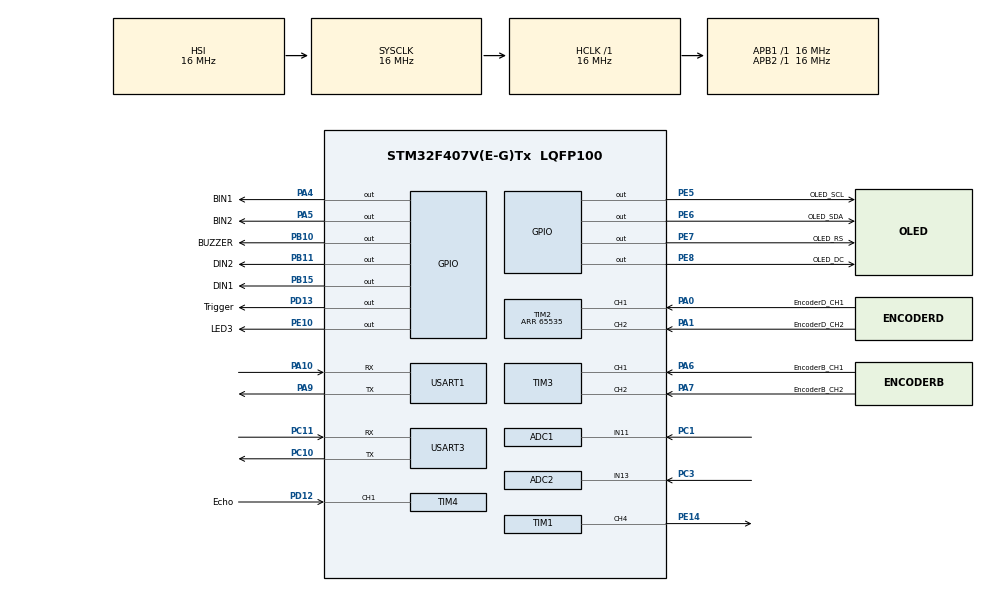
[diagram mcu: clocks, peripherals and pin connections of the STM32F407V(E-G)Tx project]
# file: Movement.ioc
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ADC1.Channel-0\#ChannelRegularConversion=ADC_CHANNEL_11
ADC1.InjNumberOfConversion=0
ADC1.NbrOfConversion=1
ADC1.NbrOfConversionFlag=1
ADC1.Rank-0\#ChannelRegularConversion=1
ADC1.SamplingTime-0\#ChannelRegularConversion=ADC_SAMPLETIME_3CYCLES
ADC1.master=1
ADC2.Channel-1\#ChannelRegularConversion=ADC_CHANNEL_13
ADC2.NbrOfConversionFlag=1
ADC2.Rank-1\#ChannelRegularConversion=1
ADC2.SamplingTime-1\#ChannelRegularConversion=ADC_SAMPLETIME_3CYCLES
FREERTOS.Tasks01=USART1Rx,24,128,USART1Receive,Default,NULL,Dynamic,NULL,NULL;encLeftTask,8,128,encoderLeftTask,Default,NULL,Dynamic,NULL,NULL;encRightTask,8,128,encoderRightTask,Default,NULL,Dynamic,NULL,NULL;motorTask,24,128,dcMotorTask,Default,NULL,Dynamic,NULL,NULL;oledTask,8,128,oledTask1,Default,NULL,Dynamic,NULL,NULL
Mcu.Family=STM32F4
Mcu.Name=STM32F407V(E-G)Tx
Mcu.Package=LQFP100
NVIC.PriorityGroup=NVIC_PRIORITYGROUP_4
NVIC.TIM1_CC_IRQn=true\:5\:0\:false\:false\:true\:true\:true\:true\:true
NVIC.TIM4_IRQn=true\:5\:0\:false\:false\:true\:true\:true\:true\:true
NVIC.USART1_IRQn=true\:5\:0\:false\:false\:true\:true\:true\:true\:true
NVIC.USART3_IRQn=true\:5\:0\:false\:false\:true\:true\:true\:true\:true
PA0-WKUP.GPIO_Label=EncoderD_CH1
PA0-WKUP.Signal=S_TIM2_CH1_ETR
PA1.GPIO_Label=EncoderD_CH2
PA1.Signal=S_TIM2_CH2
PA10.Mode=Asynchronous
PA10.Signal=USART1_RX
PA13.GPIO_Label=SWDIO
PA13.Signal=SYS_JTMS-SWDIO
PA14.GPIO_Label=SWCLK
PA14.Signal=SYS_JTCK-SWCLK
PA4.GPIO_Label=BIN1
PA4.Signal=GPIO_Output
PA5.GPIO_Label=BIN2
PA5.Signal=GPIO_Output
PA6.GPIO_Label=EncoderB_CH1
PA6.Signal=S_TIM3_CH1
PA7.GPIO_Label=EncoderB_CH2
PA7.Signal=S_TIM3_CH2
PA9.Mode=Asynchronous
PA9.Signal=USART1_TX
PB10.GPIO_Label=BUZZER
PB10.Signal=GPIO_Output
PB11.GPIO_Label=DIN2
PB11.Signal=GPIO_Output
PB15.GPIO_Label=DIN1
PB15.Signal=GPIO_Output
PC1.Signal=ADCx_IN11
PC10.GPIO_ModeDefaultPP=GPIO_MODE_AF_PP
PC10.GPIO_PuPd=GPIO_NOPULL
PC10.GPIO_Speed=GPIO_SPEED_FREQ_VERY_HIGH
PC10.Mode=Asynchronous
PC10.Signal=USART3_TX
PC11.GPIO_ModeDefaultPP=GPIO_MODE_AF_PP
PC11.GPIO_PuPd=GPIO_NOPULL
PC11.GPIO_Speed=GPIO_SPEED_FREQ_VERY_HIGH
PC11.Mode=Asynchronous
PC11.Signal=USART3_RX
PC3.Signal=ADCx_IN13
PC7.GPIO_Label=PWMB
PC7.Signal=S_TIM8_CH2
PC9.GPIO_Label=PWMD
PC9.Signal=S_TIM8_CH4
PD12.GPIO_Label=Echo
PD12.Signal=S_TIM4_CH1
PD13.GPIO_Label=Trigger
PD13.Signal=GPIO_Output
PE10.GPIO_Label=LED3
PE10.Signal=GPIO_Output
PE14.Signal=S_TIM1_CH4
PE5.GPIO_Label=OLED_SCL
PE5.Signal=GPIO_Output
PE6.GPIO_Label=OLED_SDA
PE6.Signal=GPIO_Output
PE7.GPIO_Label=OLED_RS
PE7.Signal=GPIO_Output
PE8.GPIO_Label=OLED_DC
PE8.Signal=GPIO_Output
ProjectManager.HeapSize=0x200
ProjectManager.StackSize=0x400
ProjectManager.TargetToolchain=STM32CubeIDE
RCC.AHBFreq_Value=16000000
RCC.APB1Freq_Value=16000000
RCC.APB2Freq_Value=16000000
RCC.CortexFreq_Value=16000000
RCC.HSE_VALUE=25000000
RCC.HSI_VALUE=16000000
RCC.LSE_VALUE=32768
RCC.SYSCLKFreq_VALUE=16000000
RCC.VCOOutputFreq_Value=192000000
SH.ADCx_IN11.0=ADC1_IN11,IN11
SH.ADCx_IN13.0=ADC2_IN13,IN13
SH.S_TIM1_CH4.0=TIM1_CH4,PWM Generation4 CH4
SH.S_TIM2_CH1_ETR.0=TIM2_CH1,Encoder_Interface
SH.S_TIM2_CH2.0=TIM2_CH2,Encoder_Interface
SH.S_TIM3_CH1.0=TIM3_CH1,Encoder_Interface
SH.S_TIM3_CH2.0=TIM3_CH2,Encoder_Interface
SH.S_TIM4_CH1.0=TIM4_CH1,Input_Capture1_from_TI1
SH.S_TIM8_CH2.0=TIM8_CH2
SH.S_TIM8_CH4.0=TIM8_CH4
TIM1.AutoReloadPreload=TIM_AUTORELOAD_PRELOAD_ENABLE
TIM1.Channel-PWM\ Generation4\ CH4=TIM_CHANNEL_4
TIM1.Period=1000
TIM1.Prescaler=160
TIM2.EncoderMode=TIM_ENCODERMODE_TI12
TIM2.IC1Filter=10
TIM2.IC2Filter=10
TIM2.Period=65535
TIM3.EncoderMode=TIM_ENCODERMODE_TI12
TIM3.IC1Filter=10
TIM3.IC2Filter=10
TIM4.Channel-Input_Capture1_from_TI1=TIM_CHANNEL_1
TIM4.ICPolarity_CH1=TIM_INPUTCHANNELPOLARITY_BOTHEDGE
TIM4.Prescaler=16
TIM6.Prescaler=16-1
TIM8.Channel-PWM\ Generation2\ No\ Output=TIM_CHANNEL_2
TIM8.Channel-PWM\ Generation4\ No\ Output=TIM_CHANNEL_4
TIM8.Period=7200
USART1.VirtualMode=VM_ASYNC
USART3.VirtualMode=VM_ASYNC
VP_FREERTOS_VS_CMSIS_V2.Mode=CMSIS_V2
VP_TIM4_VS_ClockSourceINT.Mode=Internal
VP_TIM6_VS_ClockSourceINT.Mode=Enable_Timer
VP_TIM8_VS_ClockSourceINT.Mode=Internal
VP_TIM8_VS_no_output2.Mode=PWM Generation2 No Output
VP_TIM8_VS_no_output4.Mode=PWM Generation4 No Output
board=custom

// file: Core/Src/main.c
/* USER CODE BEGIN Header */
/**
 ******************************************************************************
 * @file           : main.c
 * @brief          : Main program body
 ******************************************************************************
 * @attention
 *
 * Copyright (c) 2025 STMicroelectronics.
 * All rights reserved.
 *
 * This software is licensed under terms that can be found in the LICENSE file
 * in the root directory of this software component.
 * If no LICENSE file comes with this software, it is provided AS-IS.
 *
 ******************************************************************************
 */
/* USER CODE END Header */
#include "main.h"
#include "cmsis_os.h"

/* USER CODE BEGIN Includes */
#include "oled.h"
#include "math.h"
#include <stdio.h>
#include <stdlib.h>
/* USER CODE END Includes */

/* USER CODE BEGIN PTD */
#define CMD_MAX_LENGTH  5
#define AVERAGE_SPEED 18
/* USER CODE END PTD */

/* USER CODE BEGIN PD */

// SERVO-MOTOR
uint16_t SERVO_STRAIGHT = 148;
//uint16_t SERVO_LEFT = 105; // the turning rad is too small, need to increase to make it turn wider
uint16_t SERVO_LEFT = 106; // 64cm for 100
uint16_t SERVO_RIGHT = 201; // change it to achieve TURNING RADIUS of 27
//uint16_t SERVO_RIGHT = 220; // TURNING RADIUS is 23.35 atm
uint16_t pwmVal_servo, oldPwmVal_Servo;
const double TURNING_RADIUS = 35; // TO FIND OUT AGAIN, based on SERVO_L/R
//70cm diameter for Right taking middle
const double WHEELBASE = 16.8; // TO FIND OUT AGAIN, separation between two back wheels

uint32_t estimatedDelay = 0;

// PID-controlled DC Motors
//#define COUNT_PER_REV 1320  // Quadrature-encoded pulses per wheel revolution
// check if need change again - do the measurements
#define COUNT_PER_REV 1560
//1544 right 1576 left

const double PI = 3.141592653;
const double WHEEL_DIAMETER = 6.5;  // in cm
const double WHEEL_CIRCUM = WHEEL_DIAMETER * PI;
const double COUNT_PER_CM = COUNT_PER_REV / WHEEL_CIRCUM;
uint16_t pwmVal_Left, pwmVal_Right = 0;
volatile int start = 0;
volatile int leftDiff = 0, rightDiff = 0;

//uint16_t dist_Left, dist_Right;

// Low-Pass Filter for Ultrasonic Sensor
#define FILTER_ALPHA1 0.1 // Filter coefficient
float filtered_distance = 60; // Initialize filtered distance variable
uint16_t filtered_distance_int = 0;

uint16_t distance_return = 0;

// Low-Pass Filter for IR Sensor
#define FILTER_ALPHA2 0.1 // Filter coefficient

//float filtered_irreading = 600; // Initialize filtered IR values variable
//uint16_t filtered_irreading_int = 0;
//float distanceirr = 0;
//uint16_t distanceir = 0;
//uint16_t initial_distance_ir = 0;

// Left IR
float filtered_irreading_L = 600;  // Filtered value for left IR sensor
uint16_t filtered_irreading_L_int = 0;
float distanceirr_L = 0;
uint16_t distanceir_L = 0;
// Right IR
float filtered_irreading_R = 600;  // Filtered value for right IR sensor
uint16_t filtered_irreading_R_int = 0;
float distanceirr_R = 0;
uint16_t distanceir_R = 0;

#define ACCEPTABLE_ERROR 2

// PID variables
float dTRight, dTLeft;

// Gyro
double total_angle=0;
uint8_t gyroBuffer[20];
uint8_t ICMAddress = 0x68;

// REAR WHEELS ENCODER VARIABLES
int16_t rightEncoderVal = 0, leftEncoderVal = 0;
//int16_t rightTargetVal = 4000, leftTargetVal = 4000; // should be 0 when running/testing the code
int16_t rightTargetVal = 0, leftTargetVal = 0;
int16_t rightErrorVal = 0, leftErrorVal = 0;
int32_t rightIntegral = 0, leftIntegral = 0;

int readyToExecute = 0;

// Ultrasonic sensor declarations
uint16_t echo = 0;       // To hold the echo pulse width in microseconds
uint16_t tc1, tc2;
uint8_t Is_First_Captured = 0;
/* USER CODE END PD */

ADC_HandleTypeDef hadc1;
ADC_HandleTypeDef hadc2;

TIM_HandleTypeDef htim1;
TIM_HandleTypeDef htim2;
TIM_HandleTypeDef htim3;
TIM_HandleTypeDef htim4;
TIM_HandleTypeDef htim6;
TIM_HandleTypeDef htim8;

UART_HandleTypeDef huart1;
UART_HandleTypeDef huart3;

/* Definitions for USART1Rx */
osThreadId_t USART1RxHandle;
const osThreadAttr_t USART1Rx_attributes = {
		.name = "USART1Rx",
		.stack_size = 128 * 4,
		.priority = (osPriority_t) osPriorityNormal,
};
/* Definitions for encLeftTask */
osThreadId_t encLeftTaskHandle;
const osThreadAttr_t encLeftTask_attributes = {
		.name = "encLeftTask",
		.stack_size = 128 * 4,
		.priority = (osPriority_t) osPriorityLow,
};
/* Definitions for encRightTask */
osThreadId_t encRightTaskHandle;
const osThreadAttr_t encRightTask_attributes = {
		.name = "encRightTask",
		.stack_size = 128 * 4,
		.priority = (osPriority_t) osPriorityLow,
};
/* Definitions for motorTask */
osThreadId_t motorTaskHandle;
const osThreadAttr_t motorTask_attributes = {
		.name = "motorTask",
		.stack_size = 128 * 4,
		.priority = (osPriority_t) osPriorityNormal,
};
/* Definitions for oledTask */
osThreadId_t oledTaskHandle;
const osThreadAttr_t oledTask_attributes = {
		.name = "oledTask",
		.stack_size = 128 * 4,
		.priority = (osPriority_t) osPriorityLow,
};
/* USER CODE BEGIN PV */
uint8_t task1 [30] = "Task1";
uint8_t task2 [30] = "Task2";
/* USER CODE END PV */

void SystemClock_Config(void);
static void MX_GPIO_Init(void);
static void MX_TIM8_Init(void);
static void MX_TIM1_Init(void);
static void MX_USART3_UART_Init(void);
static void MX_USART1_UART_Init(void);
static void MX_TIM6_Init(void);
static void MX_TIM4_Init(void);
static void MX_TIM2_Init(void);
static void MX_TIM3_Init(void);
static void MX_ADC1_Init(void);
static void MX_ADC2_Init(void);
void USART1Receive(void *argument);
void encoderLeftTask(void *argument);
void encoderRightTask(void *argument);
void dcMotorTask(void *argument);
void oledTask1(void *argument);

/* USER CODE BEGIN 0 */

volatile uint8_t aRxBuffer [CMD_MAX_LENGTH];
volatile uint8_t bufferIndex = 0;

// RPI
int flagDone = 0;
char key;
char direction;
uint16_t magnitude = 0;
int flagRead = 0;
int flagWrite = 0;

/* USER CODE END 0 */

int main(void)
{

	/* MCU Configuration--------------------------------------------------------*/

	/* Reset of all peripherals, Initializes the Flash interface and the Systick. */
	HAL_Init();

	/* Configure the system clock */
	SystemClock_Config();

	/* Initialize all configured peripherals */
	MX_GPIO_Init();
	MX_TIM8_Init();
	MX_TIM1_Init();
	MX_USART3_UART_Init();
	MX_USART1_UART_Init();
	MX_TIM6_Init();
	MX_TIM4_Init();
	MX_TIM2_Init();
	MX_TIM3_Init();
	MX_ADC1_Init();
	MX_ADC2_Init();
	/* USER CODE BEGIN 2 */
	OLED_Init();

	HAL_TIM_IC_Start_IT(&htim4, TIM_CHANNEL_1);  // Ensure Input Capture is running
	//  HAL_UART_Receive_IT(&huart3, (uint8_t *) aRxBuffer, 30);
	//  HAL_UART_Receive_IT(&huart1, (uint8_t *) aRxBuffer, CMD_MAX_LENGTH);
	HAL_UART_Receive_IT(&huart1, &aRxBuffer[bufferIndex], CMD_MAX_LENGTH);

	/* USER CODE END 2 */

	/* Init scheduler */
	osKernelInitialize();

	/* Create the thread(s) */
	/* creation of USART1Rx */
	USART1RxHandle = osThreadNew(USART1Receive, NULL, &USART1Rx_attributes);

	/* creation of encLeftTask */
	encLeftTaskHandle = osThreadNew(encoderLeftTask, NULL, &encLeftTask_attributes);

	/* creation of encRightTask */
	encRightTaskHandle = osThreadNew(encoderRightTask, NULL, &encRightTask_attributes);

	/* creation of motorTask */
	motorTaskHandle = osThreadNew(dcMotorTask, NULL, &motorTask_attributes);

	/* creation of oledTask */
	oledTaskHandle = osThreadNew(oledTask1, NULL, &oledTask_attributes);

	/* Start scheduler */
	osKernelStart();

	/* We should never get here as control is now taken by the scheduler */

	/* Infinite loop */
	while (1)
	{
	}

	/* USER CODE BEGIN 3 */
	//  }
	/* USER CODE END 3 */
}

void SystemClock_Config(void)
{
	RCC_OscInitTypeDef RCC_OscInitStruct = {0};
	RCC_ClkInitTypeDef RCC_ClkInitStruct = {0};

	/** Configure the main internal regulator output voltage
	 */
	__HAL_RCC_PWR_CLK_ENABLE();
	__HAL_PWR_VOLTAGESCALING_CONFIG(PWR_REGULATOR_VOLTAGE_SCALE1);

	/** Initializes the RCC Oscillators according to the specified parameters
	 * in the RCC_OscInitTypeDef structure.
	 */
	RCC_OscInitStruct.OscillatorType = RCC_OSCILLATORTYPE_HSI;
	RCC_OscInitStruct.HSIState = RCC_HSI_ON;
	RCC_OscInitStruct.HSICalibrationValue = RCC_HSICALIBRATION_DEFAULT;
	RCC_OscInitStruct.PLL.PLLState = RCC_PLL_NONE;
	if (HAL_RCC_OscConfig(&RCC_OscInitStruct) != HAL_OK)
	{
		Error_Handler();
	}

	/** Initializes the CPU, AHB and APB buses clocks
	 */
	RCC_ClkInitStruct.ClockType = RCC_CLOCKTYPE_HCLK|RCC_CLOCKTYPE_SYSCLK
			|RCC_CLOCKTYPE_PCLK1|RCC_CLOCKTYPE_PCLK2;
	RCC_ClkInitStruct.SYSCLKSource = RCC_SYSCLKSOURCE_HSI;
	RCC_ClkInitStruct.AHBCLKDivider = RCC_SYSCLK_DIV1;
	RCC_ClkInitStruct.APB1CLKDivider = RCC_HCLK_DIV1;
	RCC_ClkInitStruct.APB2CLKDivider = RCC_HCLK_DIV1;

	if (HAL_RCC_ClockConfig(&RCC_ClkInitStruct, FLASH_LATENCY_0) != HAL_OK)
	{
		Error_Handler();
	}
}

static void MX_ADC1_Init(void)
{

	ADC_ChannelConfTypeDef sConfig = {0};

	/** Configure the global features of the ADC (Clock, Resolution, Data Alignment and number of conversion)
	 */
	hadc1.Instance = ADC1;
	hadc1.Init.ClockPrescaler = ADC_CLOCK_SYNC_PCLK_DIV2;
	hadc1.Init.Resolution = ADC_RESOLUTION_12B;
	hadc1.Init.ScanConvMode = DISABLE;
	hadc1.Init.ContinuousConvMode = DISABLE;
	hadc1.Init.DiscontinuousConvMode = DISABLE;
	hadc1.Init.ExternalTrigConvEdge = ADC_EXTERNALTRIGCONVEDGE_NONE;
	hadc1.Init.ExternalTrigConv = ADC_SOFTWARE_START;
	hadc1.Init.DataAlign = ADC_DATAALIGN_RIGHT;
	hadc1.Init.NbrOfConversion = 1;
	hadc1.Init.DMAContinuousRequests = DISABLE;
	hadc1.Init.EOCSelection = ADC_EOC_SINGLE_CONV;
	if (HAL_ADC_Init(&hadc1) != HAL_OK)
	{
		Error_Handler();
	}

	/** Configure for the selected ADC regular channel its corresponding rank in the sequencer and its sample time.
	 */
	sConfig.Channel = ADC_CHANNEL_11;
	sConfig.Rank = 1;
	sConfig.SamplingTime = ADC_SAMPLETIME_3CYCLES;
	if (HAL_ADC_ConfigChannel(&hadc1, &sConfig) != HAL_OK)
	{
		Error_Handler();
	}

}

static void MX_ADC2_Init(void)
{

	ADC_ChannelConfTypeDef sConfig = {0};

	/** Configure the global features of the ADC (Clock, Resolution, Data Alignment and number of conversion)
	 */
	hadc2.Instance = ADC2;
	hadc2.Init.ClockPrescaler = ADC_CLOCK_SYNC_PCLK_DIV2;
	hadc2.Init.Resolution = ADC_RESOLUTION_12B;
	hadc2.Init.ScanConvMode = DISABLE;
	hadc2.Init.ContinuousConvMode = DISABLE;
	hadc2.Init.DiscontinuousConvMode = DISABLE;
	hadc2.Init.ExternalTrigConvEdge = ADC_EXTERNALTRIGCONVEDGE_NONE;
	hadc2.Init.ExternalTrigConv = ADC_SOFTWARE_START;
	hadc2.Init.DataAlign = ADC_DATAALIGN_RIGHT;
	hadc2.Init.NbrOfConversion = 1;
	hadc2.Init.DMAContinuousRequests = DISABLE;
	hadc2.Init.EOCSelection = ADC_EOC_SINGLE_CONV;
	if (HAL_ADC_Init(&hadc2) != HAL_OK)
	{
		Error_Handler();
	}

	/** Configure for the selected ADC regular channel its corresponding rank in the sequencer and its sample time.
	 */
	sConfig.Channel = ADC_CHANNEL_13;
	sConfig.Rank = 1;
	sConfig.SamplingTime = ADC_SAMPLETIME_3CYCLES;
	if (HAL_ADC_ConfigChannel(&hadc2, &sConfig) != HAL_OK)
	{
		Error_Handler();
	}

}

static void MX_TIM1_Init(void)
{

	TIM_MasterConfigTypeDef sMasterConfig = {0};
	TIM_OC_InitTypeDef sConfigOC = {0};
	TIM_BreakDeadTimeConfigTypeDef sBreakDeadTimeConfig = {0};

	htim1.Instance = TIM1;
	htim1.Init.Prescaler = 160;
	htim1.Init.CounterMode = TIM_COUNTERMODE_UP;
	htim1.Init.Period = 1000;
	htim1.Init.ClockDivision = TIM_CLOCKDIVISION_DIV1;
	htim1.Init.RepetitionCounter = 0;
	htim1.Init.AutoReloadPreload = TIM_AUTORELOAD_PRELOAD_ENABLE;
	if (HAL_TIM_PWM_Init(&htim1) != HAL_OK)
	{
		Error_Handler();
	}
	sMasterConfig.MasterOutputTrigger = TIM_TRGO_RESET;
	sMasterConfig.MasterSlaveMode = TIM_MASTERSLAVEMODE_DISABLE;
	if (HAL_TIMEx_MasterConfigSynchronization(&htim1, &sMasterConfig) != HAL_OK)
	{
		Error_Handler();
	}
	sConfigOC.OCMode = TIM_OCMODE_PWM1;
	sConfigOC.Pulse = 0;
	sConfigOC.OCPolarity = TIM_OCPOLARITY_HIGH;
	sConfigOC.OCFastMode = TIM_OCFAST_DISABLE;
	sConfigOC.OCIdleState = TIM_OCIDLESTATE_RESET;
	sConfigOC.OCNIdleState = TIM_OCNIDLESTATE_RESET;
	if (HAL_TIM_PWM_ConfigChannel(&htim1, &sConfigOC, TIM_CHANNEL_4) != HAL_OK)
	{
		Error_Handler();
	}
	sBreakDeadTimeConfig.OffStateRunMode = TIM_OSSR_DISABLE;
	sBreakDeadTimeConfig.OffStateIDLEMode = TIM_OSSI_DISABLE;
	sBreakDeadTimeConfig.LockLevel = TIM_LOCKLEVEL_OFF;
	sBreakDeadTimeConfig.DeadTime = 0;
	sBreakDeadTimeConfig.BreakState = TIM_BREAK_DISABLE;
	sBreakDeadTimeConfig.BreakPolarity = TIM_BREAKPOLARITY_HIGH;
	sBreakDeadTimeConfig.AutomaticOutput = TIM_AUTOMATICOUTPUT_DISABLE;
	if (HAL_TIMEx_ConfigBreakDeadTime(&htim1, &sBreakDeadTimeConfig) != HAL_OK)
	{
		Error_Handler();
	}
	HAL_TIM_MspPostInit(&htim1);

}

static void MX_TIM2_Init(void)
{

	TIM_Encoder_InitTypeDef sConfig = {0};
	TIM_MasterConfigTypeDef sMasterConfig = {0};

	htim2.Instance = TIM2;
	htim2.Init.Prescaler = 0;
	htim2.Init.CounterMode = TIM_COUNTERMODE_UP;
	htim2.Init.Period = 65535;
	htim2.Init.ClockDivision = TIM_CLOCKDIVISION_DIV1;
	htim2.Init.AutoReloadPreload = TIM_AUTORELOAD_PRELOAD_DISABLE;
	sConfig.EncoderMode = TIM_ENCODERMODE_TI12;
	sConfig.IC1Polarity = TIM_ICPOLARITY_RISING;
	sConfig.IC1Selection = TIM_ICSELECTION_DIRECTTI;
	sConfig.IC1Prescaler = TIM_ICPSC_DIV1;
	sConfig.IC1Filter = 10;
	sConfig.IC2Polarity = TIM_ICPOLARITY_RISING;
	sConfig.IC2Selection = TIM_ICSELECTION_DIRECTTI;
	sConfig.IC2Prescaler = TIM_ICPSC_DIV1;
	sConfig.IC2Filter = 10;
	if (HAL_TIM_Encoder_Init(&htim2, &sConfig) != HAL_OK)
	{
		Error_Handler();
	}
	sMasterConfig.MasterOutputTrigger = TIM_TRGO_RESET;
	sMasterConfig.MasterSlaveMode = TIM_MASTERSLAVEMODE_DISABLE;
	if (HAL_TIMEx_MasterConfigSynchronization(&htim2, &sMasterConfig) != HAL_OK)
	{
		Error_Handler();
	}

}

static void MX_TIM3_Init(void)
{

	TIM_Encoder_InitTypeDef sConfig = {0};
	TIM_MasterConfigTypeDef sMasterConfig = {0};

	htim3.Instance = TIM3;
	htim3.Init.Prescaler = 0;
	htim3.Init.CounterMode = TIM_COUNTERMODE_UP;
	htim3.Init.Period = 65535;
	htim3.Init.ClockDivision = TIM_CLOCKDIVISION_DIV1;
	htim3.Init.AutoReloadPreload = TIM_AUTORELOAD_PRELOAD_DISABLE;
	sConfig.EncoderMode = TIM_ENCODERMODE_TI12;
	sConfig.IC1Polarity = TIM_ICPOLARITY_RISING;
	sConfig.IC1Selection = TIM_ICSELECTION_DIRECTTI;
	sConfig.IC1Prescaler = TIM_ICPSC_DIV1;
	sConfig.IC1Filter = 10;
	sConfig.IC2Polarity = TIM_ICPOLARITY_RISING;
	sConfig.IC2Selection = TIM_ICSELECTION_DIRECTTI;
	sConfig.IC2Prescaler = TIM_ICPSC_DIV1;
	sConfig.IC2Filter = 10;
	if (HAL_TIM_Encoder_Init(&htim3, &sConfig) != HAL_OK)
	{
		Error_Handler();
	}
	sMasterConfig.MasterOutputTrigger = TIM_TRGO_RESET;
	sMasterConfig.MasterSlaveMode = TIM_MASTERSLAVEMODE_DISABLE;
	if (HAL_TIMEx_MasterConfigSynchronization(&htim3, &sMasterConfig) != HAL_OK)
	{
		Error_Handler();
	}

}

static void MX_TIM4_Init(void)
{

	TIM_ClockConfigTypeDef sClockSourceConfig = {0};
	TIM_MasterConfigTypeDef sMasterConfig = {0};
	TIM_IC_InitTypeDef sConfigIC = {0};

	htim4.Instance = TIM4;
	htim4.Init.Prescaler = 16;
	htim4.Init.CounterMode = TIM_COUNTERMODE_UP;
	htim4.Init.Period = 65535;
	htim4.Init.ClockDivision = TIM_CLOCKDIVISION_DIV1;
	htim4.Init.AutoReloadPreload = TIM_AUTORELOAD_PRELOAD_DISABLE;
	if (HAL_TIM_Base_Init(&htim4) != HAL_OK)
	{
		Error_Handler();
	}
	sClockSourceConfig.ClockSource = TIM_CLOCKSOURCE_INTERNAL;
	if (HAL_TIM_ConfigClockSource(&htim4, &sClockSourceConfig) != HAL_OK)
	{
		Error_Handler();
	}
	if (HAL_TIM_IC_Init(&htim4) != HAL_OK)
	{
		Error_Handler();
	}
	sMasterConfig.MasterOutputTrigger = TIM_TRGO_RESET;
	sMasterConfig.MasterSlaveMode = TIM_MASTERSLAVEMODE_DISABLE;
	if (HAL_TIMEx_MasterConfigSynchronization(&htim4, &sMasterConfig) != HAL_OK)
	{
		Error_Handler();
	}
	sConfigIC.ICPolarity = TIM_INPUTCHANNELPOLARITY_BOTHEDGE;
	sConfigIC.ICSelection = TIM_ICSELECTION_DIRECTTI;
	sConfigIC.ICPrescaler = TIM_ICPSC_DIV1;
	sConfigIC.ICFilter = 0;
	if (HAL_TIM_IC_ConfigChannel(&htim4, &sConfigIC, TIM_CHANNEL_1) != HAL_OK)
	{
		Error_Handler();
	}

}

static void MX_TIM6_Init(void)
{

	TIM_MasterConfigTypeDef sMasterConfig = {0};

	htim6.Instance = TIM6;
	htim6.Init.Prescaler = 16-1;
	htim6.Init.CounterMode = TIM_COUNTERMODE_UP;
	htim6.Init.Period = 65535;
	htim6.Init.AutoReloadPreload = TIM_AUTORELOAD_PRELOAD_DISABLE;
	if (HAL_TIM_Base_Init(&htim6) != HAL_OK)
	{
		Error_Handler();
	}
	sMasterConfig.MasterOutputTrigger = TIM_TRGO_RESET;
	sMasterConfig.MasterSlaveMode = TIM_MASTERSLAVEMODE_DISABLE;
	if (HAL_TIMEx_MasterConfigSynchronization(&htim6, &sMasterConfig) != HAL_OK)
	{
		Error_Handler();
	}

}

static void MX_TIM8_Init(void)
{

	TIM_ClockConfigTypeDef sClockSourceConfig = {0};
	TIM_MasterConfigTypeDef sMasterConfig = {0};
	TIM_OC_InitTypeDef sConfigOC = {0};
	TIM_BreakDeadTimeConfigTypeDef sBreakDeadTimeConfig = {0};

	htim8.Instance = TIM8;
	htim8.Init.Prescaler = 0;
	htim8.Init.CounterMode = TIM_COUNTERMODE_UP;
	htim8.Init.Period = 7200;
	htim8.Init.ClockDivision = TIM_CLOCKDIVISION_DIV1;
	htim8.Init.RepetitionCounter = 0;
	htim8.Init.AutoReloadPreload = TIM_AUTORELOAD_PRELOAD_DISABLE;
	if (HAL_TIM_Base_Init(&htim8) != HAL_OK)
	{
		Error_Handler();
	}
	sClockSourceConfig.ClockSource = TIM_CLOCKSOURCE_INTERNAL;
	if (HAL_TIM_ConfigClockSource(&htim8, &sClockSourceConfig) != HAL_OK)
	{
		Error_Handler();
	}
	if (HAL_TIM_PWM_Init(&htim8) != HAL_OK)
	{
		Error_Handler();
	}
	sMasterConfig.MasterOutputTrigger = TIM_TRGO_RESET;
	sMasterConfig.MasterSlaveMode = TIM_MASTERSLAVEMODE_DISABLE;
	if (HAL_TIMEx_MasterConfigSynchronization(&htim8, &sMasterConfig) != HAL_OK)
	{
		Error_Handler();
	}
	sConfigOC.OCMode = TIM_OCMODE_PWM1;
	sConfigOC.Pulse = 0;
	sConfigOC.OCPolarity = TIM_OCPOLARITY_HIGH;
	sConfigOC.OCNPolarity = TIM_OCNPOLARITY_HIGH;
	sConfigOC.OCFastMode = TIM_OCFAST_DISABLE;
	sConfigOC.OCIdleState = TIM_OCIDLESTATE_RESET;
	sConfigOC.OCNIdleState = TIM_OCNIDLESTATE_RESET;
	if (HAL_TIM_PWM_ConfigChannel(&htim8, &sConfigOC, TIM_CHANNEL_2) != HAL_OK)
	{
		Error_Handler();
	}
	if (HAL_TIM_PWM_ConfigChannel(&htim8, &sConfigOC, TIM_CHANNEL_4) != HAL_OK)
	{
		Error_Handler();
	}
	sBreakDeadTimeConfig.OffStateRunMode = TIM_OSSR_DISABLE;
	sBreakDeadTimeConfig.OffStateIDLEMode = TIM_OSSI_DISABLE;
	sBreakDeadTimeConfig.LockLevel = TIM_LOCKLEVEL_OFF;
	sBreakDeadTimeConfig.DeadTime = 0;
	sBreakDeadTimeConfig.BreakState = TIM_BREAK_DISABLE;
	sBreakDeadTimeConfig.BreakPolarity = TIM_BREAKPOLARITY_HIGH;
	sBreakDeadTimeConfig.AutomaticOutput = TIM_AUTOMATICOUTPUT_DISABLE;
	if (HAL_TIMEx_ConfigBreakDeadTime(&htim8, &sBreakDeadTimeConfig) != HAL_OK)
	{
		Error_Handler();
	}

}

static void MX_USART1_UART_Init(void)
{

	huart1.Instance = USART1;
	huart1.Init.BaudRate = 115200;
	huart1.Init.WordLength = UART_WORDLENGTH_8B;
	huart1.Init.StopBits = UART_STOPBITS_1;
	huart1.Init.Parity = UART_PARITY_NONE;
	huart1.Init.Mode = UART_MODE_TX_RX;
	huart1.Init.HwFlowCtl = UART_HWCONTROL_NONE;
	huart1.Init.OverSampling = UART_OVERSAMPLING_16;
	if (HAL_UART_Init(&huart1) != HAL_OK)
	{
		Error_Handler();
	}

}

static void MX_USART3_UART_Init(void)
{

	huart3.Instance = USART3;
	huart3.Init.BaudRate = 115200;
	huart3.Init.WordLength = UART_WORDLENGTH_8B;
	huart3.Init.StopBits = UART_STOPBITS_1;
	huart3.Init.Parity = UART_PARITY_NONE;
	huart3.Init.Mode = UART_MODE_TX_RX;
	huart3.Init.HwFlowCtl = UART_HWCONTROL_NONE;
	huart3.Init.OverSampling = UART_OVERSAMPLING_16;
	if (HAL_UART_Init(&huart3) != HAL_OK)
	{
		Error_Handler();
	}

}

static void MX_GPIO_Init(void)
{
	GPIO_InitTypeDef GPIO_InitStruct = {0};

	/* GPIO Ports Clock Enable */
	__HAL_RCC_GPIOE_CLK_ENABLE();
	__HAL_RCC_GPIOC_CLK_ENABLE();
	__HAL_RCC_GPIOA_CLK_ENABLE();
	__HAL_RCC_GPIOB_CLK_ENABLE();
	__HAL_RCC_GPIOD_CLK_ENABLE();

	/*Configure GPIO pin Output Level */
	HAL_GPIO_WritePin(GPIOE, OLED_SCL_Pin|OLED_SDA_Pin|OLED_RS_Pin|OLED_DC_Pin
			|LED3_Pin, GPIO_PIN_RESET);

	/*Configure GPIO pin Output Level */
	HAL_GPIO_WritePin(GPIOA, BIN1_Pin|BIN2_Pin, GPIO_PIN_RESET);

	/*Configure GPIO pin Output Level */
	HAL_GPIO_WritePin(GPIOB, BUZZER_Pin|DIN2_Pin|DIN1_Pin, GPIO_PIN_RESET);

	/*Configure GPIO pin Output Level */
	HAL_GPIO_WritePin(Trigger_GPIO_Port, Trigger_Pin, GPIO_PIN_RESET);

	/*Configure GPIO pins : OLED_SCL_Pin OLED_SDA_Pin OLED_RS_Pin OLED_DC_Pin
                           LED3_Pin */
	GPIO_InitStruct.Pin = OLED_SCL_Pin|OLED_SDA_Pin|OLED_RS_Pin|OLED_DC_Pin
			|LED3_Pin;
	GPIO_InitStruct.Mode = GPIO_MODE_OUTPUT_PP;
	GPIO_InitStruct.Pull = GPIO_NOPULL;
	GPIO_InitStruct.Speed = GPIO_SPEED_FREQ_LOW;
	HAL_GPIO_Init(GPIOE, &GPIO_InitStruct);

	/*Configure GPIO pins : BIN1_Pin BIN2_Pin */
	GPIO_InitStruct.Pin = BIN1_Pin|BIN2_Pin;
	GPIO_InitStruct.Mode = GPIO_MODE_OUTPUT_PP;
	GPIO_InitStruct.Pull = GPIO_NOPULL;
	GPIO_InitStruct.Speed = GPIO_SPEED_FREQ_LOW;
	HAL_GPIO_Init(GPIOA, &GPIO_InitStruct);

	/*Configure GPIO pins : BUZZER_Pin DIN2_Pin DIN1_Pin */
	GPIO_InitStruct.Pin = BUZZER_Pin|DIN2_Pin|DIN1_Pin;
	GPIO_InitStruct.Mode = GPIO_MODE_OUTPUT_PP;
	GPIO_InitStruct.Pull = GPIO_NOPULL;
	GPIO_InitStruct.Speed = GPIO_SPEED_FREQ_LOW;
	HAL_GPIO_Init(GPIOB, &GPIO_InitStruct);

	/*Configure GPIO pin : Trigger_Pin */
	GPIO_InitStruct.Pin = Trigger_Pin;
	GPIO_InitStruct.Mode = GPIO_MODE_OUTPUT_PP;
	GPIO_InitStruct.Pull = GPIO_NOPULL;
	GPIO_InitStruct.Speed = GPIO_SPEED_FREQ_LOW;
	HAL_GPIO_Init(Trigger_GPIO_Port, &GPIO_InitStruct);

}

/* USER CODE BEGIN 4 */

void blinkLED3(int period){
	HAL_GPIO_WritePin(GPIOE,LED3_Pin, GPIO_PIN_SET);
	osDelay(period);
	HAL_GPIO_WritePin(GPIOE,LED3_Pin, GPIO_PIN_RESET);
}

void ringBuzzer(int period){
	HAL_GPIO_WritePin(GPIOB,BUZZER_Pin, GPIO_PIN_SET);
	osDelay(period);
	HAL_GPIO_WritePin(GPIOB,BUZZER_Pin, GPIO_PIN_RESET);
	osDelay(period);
}

// NEW DRIVEFORWARD
void moveForward(uint8_t distance_in_cm) {

	char buf[20]; // for debug

	int32_t targetTicks = (int32_t) (distance_in_cm * COUNT_PER_CM);
	leftTargetVal = targetTicks;
	rightTargetVal = targetTicks;
	pwmVal_servo = SERVO_STRAIGHT;

}

void moveBackward(uint8_t distance_in_cm) {

	int32_t targetTicks = (int32_t) - 1 * (distance_in_cm * COUNT_PER_CM);
	leftTargetVal = targetTicks;
	rightTargetVal = targetTicks;
	pwmVal_servo = SERVO_STRAIGHT;

}

void moveLeftForward(uint16_t angle) {
	float outerArc = (PI * (TURNING_RADIUS + (WHEELBASE / 2)) * angle) / 180.0;
	float innerArc = (PI * (TURNING_RADIUS - (WHEELBASE / 2)) * angle) / 180.0;

	int32_t outerTicks = (int32_t)(outerArc * COUNT_PER_CM);
	int32_t innerTicks = (int32_t)(innerArc * COUNT_PER_CM);

	leftTargetVal = innerTicks;   // Inner wheel moves less
	rightTargetVal = outerTicks;  // Outer wheel moves more
	pwmVal_servo = SERVO_LEFT;

}

void moveLeftBackward(uint16_t angle) {
	float outerArc = (PI * (TURNING_RADIUS + (WHEELBASE / 2)) * angle) / 180.0;
	float innerArc = (PI * (TURNING_RADIUS - (WHEELBASE / 2)) * angle) / 180.0;

	int32_t outerTicks = (int32_t)(outerArc * COUNT_PER_CM);
	int32_t innerTicks = (int32_t)(innerArc * COUNT_PER_CM);

	leftTargetVal = -innerTicks;   // Reverse movement
	rightTargetVal = -outerTicks;
	pwmVal_servo = SERVO_LEFT;

}

void moveRightForward(uint16_t angle) {
	//    angle = 130;

	float outerArc = (PI * (TURNING_RADIUS + (WHEELBASE / 2)) * angle) / 180.0;
	float innerArc = (PI * (TURNING_RADIUS - (WHEELBASE / 2)) * angle) / 180.0;

	int32_t outerTicks = (int32_t)(outerArc * COUNT_PER_CM);
	int32_t innerTicks = (int32_t)(innerArc * COUNT_PER_CM);

	leftTargetVal = outerTicks;   // Outer wheel moves more
	rightTargetVal = innerTicks;  // Inner wheel moves less
	pwmVal_servo = SERVO_RIGHT;

}

void moveRightBackward(uint16_t angle) {
	//	angle = 130;

	float outerArc = (PI * (TURNING_RADIUS + (WHEELBASE / 2)) * angle) / 180.0;
	float innerArc = (PI * (TURNING_RADIUS - (WHEELBASE / 2)) * angle) / 180.0;

	int32_t outerTicks = (int32_t)(outerArc * COUNT_PER_CM);
	int32_t innerTicks = (int32_t)(innerArc * COUNT_PER_CM);

	leftTargetVal = -outerTicks;  // Reverse movement
	rightTargetVal = -innerTicks;
	pwmVal_servo = SERVO_RIGHT;

}

uint16_t PID_Control_right() {
	// PID gains (tune as needed)
	//    const float Kp = 35.0f, Ki = 0.0f, Kd = 3.0f; // configured based on 5V
	const float Kp = 4.0f, Ki = 0.01f, Kd = 2.0f; // testing 12V Power Supply
	const float MAX_INTEGRAL = 10.0f;
	// 2000 achieves 20cm/s
	const uint16_t MAX_PWM_VAL = 1800;  // Adjust as needed
	const uint16_t MIN_PWM_VAL = 500;   // Adjust as needed

	// Static variables for persistent error tracking
	static int prevError = 0;
	static float integral = 0.0f;

	// Compute error
	int errorVal = rightEncoderVal - rightTargetVal;

	int percentageError = (int)(fabs((double)errorVal / rightTargetVal) * 100);

	if (percentageError < ACCEPTABLE_ERROR) return 0;

	// Compute derivative (only if dT > 0)
	float derivative = (dTRight > 0) ? (errorVal - prevError) / dTRight : 0.0f;

	// Integrate error with anti-windup clamping
	integral += errorVal * dTRight;
	if (integral > MAX_INTEGRAL) integral = MAX_INTEGRAL;
	else if (integral < -MAX_INTEGRAL) integral = -MAX_INTEGRAL;

	// Compute control signal
	float u_float = Kp * errorVal + Kd * derivative + Ki * integral;
	int u = (int)u_float;  // Convert to integer

	// Store previous error for next cycle
	prevError = errorVal;

	// Set motor direction
	HAL_GPIO_WritePin(DIN2_GPIO_Port, DIN2_Pin, (u < 0) ? GPIO_PIN_SET : GPIO_PIN_RESET);
	HAL_GPIO_WritePin(DIN1_GPIO_Port, DIN1_Pin, (u < 0) ? GPIO_PIN_RESET : GPIO_PIN_SET);

	// Limit PWM output
	u = abs(u);
	if (u > MAX_PWM_VAL) return MAX_PWM_VAL;
	if (u < MIN_PWM_VAL) return 0;

	return (uint16_t)u; // return pwm value
}

uint16_t PID_Control_left() {
	// PID gains (tune as needed)
	//    const float Kp = 20.0f, Ki = 0.0f, Kd = 4.0f; // configured based on 5V
	const float Kp = 2.5f, Ki = 0.01f, Kd = 0.5f; // testing 12V Power Supply
	const float MAX_INTEGRAL = 10.0f;
	// 2000 achieves 20cm/s
	const uint16_t MAX_PWM_VAL = 1800;  // Adjust as needed
	const uint16_t MIN_PWM_VAL = 500;   // Adjust as needed

	// Static variables for persistent error tracking
	static int prevError = 0;
	static float integral = 0.0f;

	// Compute error
	int errorVal = leftEncoderVal - leftTargetVal;

	int percentageError = (int)(fabs((double)errorVal / leftTargetVal) * 100);

	if (percentageError < ACCEPTABLE_ERROR) return 0;

	// Compute derivative (only if dT > 0)
	float derivative = (dTLeft > 0) ? (errorVal - prevError) / dTLeft : 0.0f;

	// Integrate error with anti-windup clamping
	integral += errorVal * dTLeft;
	if (integral > MAX_INTEGRAL) integral = MAX_INTEGRAL;
	else if (integral < -MAX_INTEGRAL) integral = -MAX_INTEGRAL;

	// Compute control signal
	float u_float = Kp * errorVal + Kd * derivative + Ki * integral;
	int u = (int)u_float;  // Convert to integer

	// Store previous error for next cycle
	prevError = errorVal;

	// Set motor direction
	HAL_GPIO_WritePin(BIN2_GPIO_Port, BIN2_Pin, (u < 0) ? GPIO_PIN_SET : GPIO_PIN_RESET);
	HAL_GPIO_WritePin(BIN1_GPIO_Port, BIN1_Pin, (u < 0) ? GPIO_PIN_RESET : GPIO_PIN_SET);

	// Limit PWM output
	u = abs(u);
	if (u > MAX_PWM_VAL) return MAX_PWM_VAL;
	if (u < MIN_PWM_VAL) return 0;

	return (uint16_t)u; // return pwm value
}

uint16_t ultrasonic()
{

	char buf[20];
//	uint16_t distance_return = 0;

	// Ensure input capture is enabled before triggering the sensor
	HAL_TIM_IC_Start_IT(&htim4, TIM_CHANNEL_1); // Ensure the timer is running

	// Send trigger pulse
	HAL_GPIO_WritePin(Trigger_GPIO_Port, Trigger_Pin, GPIO_PIN_RESET);
	// osDelay(50); // Ensure trigger is low before sending pulse
	osDelay(10); // Reduce delay and latency

	HAL_GPIO_WritePin(Trigger_GPIO_Port, Trigger_Pin, GPIO_PIN_SET);
	delay_us(10); // Send 10us trigger pulse
	HAL_GPIO_WritePin(Trigger_GPIO_Port, Trigger_Pin, GPIO_PIN_RESET);
	//    HAL_TIM_IC_Start_IT(&htim1, TIM_CHANNEL_3);

	// Wait for the echo measurement to complete
	osDelay(50);

	distance_return = echo * 0.0343 / 2; // Convert to cm

	// Display measured values

	// for debug only
//	sprintf(buf, "tc1 = %5d us ", tc1);
//	OLED_ShowString(10, 10, buf);
//
//	sprintf(buf, "tc2 = %5d us ", tc2);
//	OLED_ShowString(10, 20, buf);
//
//	sprintf(buf, "Echo = %5d us ", echo);
//	OLED_ShowString(10, 30, buf);
//
//	sprintf(buf, "Dist = %4d cm ", distance_return);
//	OLED_ShowString(10, 50, buf);
//	OLED_Refresh_Gram();

	// debug end

	return distance_return;
}

//uint16_t readLeftIR(ADC_HandleTypeDef hadc1) {
//    char buf[20];
//
//    HAL_ADC_Start(&hadc1);
//    HAL_ADC_PollForConversion(&hadc1, 10); // polling every 10ms, can increase it to 100 if need be
//    uint16_t ADC_VAL_Left = HAL_ADC_GetValue(&hadc1);
//    HAL_ADC_Stop(&hadc1);
//
//    // Display ADC value
//    sprintf(buf, "ADC Val: %5d", ADC_VAL_Left);
//    OLED_ShowString(10, 10, buf);
//
//    // Compute and display distance
//    dist_Left = 136.68 * exp (924.195/ ADC_VAL_Left) - 140.33;
//
//    sprintf(buf, "LeftIR: %5d", dist_Left);
//    OLED_ShowString(10, 20, buf);
//    OLED_Refresh_Gram();
//
//    return ADC_VAL_Left;
//}

uint16_t readLeftIR() {
	char buf[20];

	HAL_ADC_Start(&hadc1);
	HAL_ADC_PollForConversion(&hadc1, 10); // polling every 10ms, can increase it to 100 if need be
	//uint16_t ADC_VAL_Left = HAL_ADC_GetValue(&hadc1);
	uint16_t raw_value_L = HAL_ADC_GetValue(&hadc1);
	HAL_ADC_Stop(&hadc1);

	// Low-pass filter equation
	//iDistanceL = dist_Left;
	// Ratio is 0.15 new and 0.85 old
	filtered_irreading_L = (FILTER_ALPHA2 * raw_value_L) + ((1 - FILTER_ALPHA2) * filtered_irreading_L);
	filtered_irreading_L_int = (uint16_t)filtered_irreading_L;

	// Compute and display distance
	// y   x
	//10cm 3120
	//15cm 2185
	//20cm 1650
	//25cm 1370
	//30cm 1170
	//35cm 1040
	//40cm 920
	//y = 2.650594135131.7273976-12*(x^4)+-2.610518922131.7273976-8*(x^3)+0.00009737117541*(x^2)+-0.1691969613*(x^1)+131.7273976

	//	distanceirr_L = 136.68 * exp (924.195/ filtered_irreading_L) - 140.33;

	float x = filtered_irreading_L;
	float x2 = x * x;
	float x3 = x2 * x;
	float x4 = x3 * x;

	distanceirr_L = (2.6505941351e-12 * x4)
	            				  + (-2.6105189221e-8 * x3)
								  + (0.00009737117541 * x2)
								  + (-0.1691969613 * x)
								  + 131.7273976;
	distanceir_L = (int) distanceirr_L;

	// Display ADC value
	sprintf(buf, "ADC L: %4d", raw_value_L);
	OLED_ShowString(10, 10, buf);

	// For debugging
	sprintf(buf, "Dist L: %4d cm", distanceir_L);
	OLED_ShowString(10, 20, buf);
	OLED_Refresh_Gram();

	return filtered_irreading_L_int;
}

uint16_t readRightIR() {
	char buf[20];

	HAL_ADC_Start(&hadc2);
	HAL_ADC_PollForConversion(&hadc2, 10); // polling every 10ms, can increase it to 100 if need be
	uint16_t raw_value_R = HAL_ADC_GetValue(&hadc2);
	HAL_ADC_Stop(&hadc2);

	// Apply low-pass filter
	// Ratio is 0.15 new and 0.85 old
	filtered_irreading_R = (FILTER_ALPHA2 * raw_value_R) + ((1 - FILTER_ALPHA2) * filtered_irreading_R);
	filtered_irreading_R_int = (uint16_t)filtered_irreading_R;

	//  distanceirr_R = 136.68 * exp(924.195 / filtered_irreading_R) - 140.33;
	//	distanceir_R = (uint16_t)distanceirr_R;

	// y   x
	//10cm 2930
	//15cm 2080
	//20cm 1630
	//25cm 1335
	//30cm 1160
	//35cm 1015
	//40cm 880

	float w = filtered_irreading_R;
	float w2 = w * w;
	float w3 = w2 * w;
	float w4 = w3 * w;

	// Compute and display distance
	distanceirr_R = (7.9376327810e-13 * w4)
	            				  + (-1.0942045651e-8 * w3)
								  + (0.00005255001201 * w2)
								  + (-0.1125942595 * w)
								  + 105.4951681;
	distanceir_R = (int) distanceirr_R;

	// Display ADC value
	sprintf(buf, "ADC R: %4d", raw_value_R);
	OLED_ShowString(10, 30, buf);

	// For debugging
	sprintf(buf, "Dist R: %4d cm", distanceir_R);
	OLED_ShowString(10, 40, buf);
	OLED_Refresh_Gram();

	return filtered_irreading_R_int;
}

void delay_us(uint16_t us){
	HAL_TIM_Base_Start(&htim6);
	__HAL_TIM_SET_COUNTER(&htim6, 0);

	while(__HAL_TIM_GET_COUNTER(&htim6) < us);
}

void HAL_TIM_IC_CaptureCallback(TIM_HandleTypeDef *htim)
{
	if (htim->Instance == TIM4 && htim->Channel == HAL_TIM_ACTIVE_CHANNEL_1) // Check correct timer and channel
	{
		//    	OLED_ShowString(10, 80, "Callback Triggered!");
		//		OLED_Refresh_Gram();  // Display text when the callback is triggered

		//		HAL_GPIO_TogglePin(GPIOE, LED3_Pin);

		if (Is_First_Captured == 0) // Rising edge detected
		{
			tc1 = HAL_TIM_ReadCapturedValue(htim, TIM_CHANNEL_1);
			Is_First_Captured = 1;
			__HAL_TIM_SET_CAPTUREPOLARITY(htim, TIM_CHANNEL_1, TIM_INPUTCHANNELPOLARITY_FALLING);
		}
		else if (Is_First_Captured == 1) // Falling edge detected
		{

			tc2 = HAL_TIM_ReadCapturedValue(htim, TIM_CHANNEL_1);
			__HAL_TIM_SET_COUNTER(htim, 0);

			if (tc2 > tc1)
			{
				echo = tc2 - tc1;
			}
			else
			{
				echo = (65535 - tc1) + tc2; // Timer overflow correction
			}

			Is_First_Captured = 0; // Reset flag

			__HAL_TIM_SET_CAPTUREPOLARITY(htim, TIM_CHANNEL_1, TIM_INPUTCHANNELPOLARITY_RISING);
		}
	}
}

void HAL_UART_RxCpltCallback(UART_HandleTypeDef *huart)
{
	UNUSED(huart);
	//    OLED_ShowString(10, 20, aRxBuffer); //sanity check
	//    OLED_Refresh_Gram();
	readyToExecute = 1;
	//	HAL_UART_Receive_IT(&huart1, aRxBuffer, CMD_MAX_LENGTH);
}

void acknowledgeCompletion(){
	uint8_t reply [3] = "OK\n";
	HAL_UART_Transmit(&huart1, (uint8_t *) reply, 3, 0xFFFF);
	HAL_UART_Receive_IT(&huart1, aRxBuffer, CMD_MAX_LENGTH);
	readyToExecute = 0;
}

int isCarMoving(){
	/* Checks if car is moving
	 * if car has stopped it means it is
	 * ready to receive next command
	 * returns true if car is moving
	 * if car stopped return false
	 */
	int leftStop = 0, rightStop = 0;
	//
	//  if (leftDiff < 50 && leftDiff > -50) leftStop = 1;
	//  if (rightDiff < 50 && rightDiff > -50) rightStop = 1;
	//  if (rightStop == 1 && leftStop == 1){
	//	  ringBuzzer(40);
	//	  ringBuzzer(40);
	////	  HAL_UART_Receive_IT(&huart1, aRxBuffer, CMD_MAX_LENGTH);
	//	  return 0;
	//  }

	if (pwmVal_Left == 0 && pwmVal_Right ==0){
		return 0;
	}
	return 1;
}

//void readByte(uint8_t addr, uint8_t* data){
//	gyroBuffer[0] = addr;
//	HAL_I2C_Master_Transmit(&hi2c1, ICMAddress<<1, gyroBuffer, 1, 10);
//	HAL_I2C_Master_Receive(&hi2c1, ICMAddress<<1, data, 2, 20);
//}
//
//void writeByte(uint8_t addr, uint8_t data){
//	gyroBuffer[0] = addr;
//	gyroBuffer[1] = data;
//	HAL_I2C_Master_Transmit(&hi2c1, ICMAddress << 1, gyroBuffer, 2, 20);
//}
//
//void gyroInit(){
//// https://invensense.tdk.com/wp-content/uploads/2016/06/DS-000189-ICM-20948-v1.3.pdf
//	writeByte(0x06, 0x00); // Power up ICM
//	osDelay(10);
//	writeByte(0x03, 0x80); // Enable DMP features
//	osDelay(10);
//	writeByte(0x07, 0x07); // disable gyro first
//	osDelay(10);
//	writeByte(0x06, 0x01); // Set clock mode to auto-select best
//	osDelay(10);
//	writeByte(0x7F, 0x20); // Select User BANK 2
//	osDelay(10);
//	writeByte(0x01, 0x2F); // Gyro config: low pass filter 4 (100b), 2000 dps & enable dlpf
//	osDelay(10);
//	writeByte(0x0, 0x00); // Gyro config: sample rate divider
//	osDelay(10);
//	writeByte(0x7F, 0x00); // Select User BANK 0
//	osDelay(10);
//	writeByte(0x07, 0x00); //  reenable gyro
//	osDelay(10);
//}

/* USER CODE END 4 */

void USART1Receive(void *argument)
{
	/* USER CODE BEGIN 5 */
	for(;;)
	{
		magnitude = 0;
		key = '\0';
		direction = '\0';

		key = aRxBuffer[0];
		direction = aRxBuffer[1];

		if (aRxBuffer[2] < '0' || aRxBuffer[2] > '9') aRxBuffer[2] = '0';
		if (aRxBuffer[3] < '0' || aRxBuffer[3] > '9') aRxBuffer[3] = '0';
		if (aRxBuffer[4] < '0' || aRxBuffer[4] > '9') aRxBuffer[4] = '0';
		magnitude = ((int)(((int)aRxBuffer[2])-48)*100) + ((int)(((int)aRxBuffer[3])-48)*10) + ((int)(((int)aRxBuffer[4])-48));

		if (readyToExecute == 1){
			switch (key){
			case 'S': // go straight towards the 1st obstacle
				while (1) // Infinite loop to keep moving forward
				{
					distance_return = ultrasonic(); // Get current distance from ultrasonic sensor

					if (distance_return <= 15) // If obstacle detected within 15cm, stop
					{
						leftTargetVal = 0;
						rightTargetVal = 0;
						pwmVal_Left = 0;
						pwmVal_Right = 0;
						ringBuzzer(50); // Indicate obstacle detected
						break; // Exit loop when distance is close enough
					}

					moveForward(150); // Keep moving forward (distance is arbitrarily large)
					osDelay(100); // Small delay to allow sensor readings to update
				}

				flagDone = 1;
				break;
				//				  		  ringBuzzer(1);
				//				  		  ringBuzzer(1);
				//				  		  flagDone = 1;
				//				  		  break;
			case 'D':
				break;
			case 'F':
				moveForward((uint16_t)magnitude);
				estimatedDelay = (int32_t) (magnitude * 1000) / AVERAGE_SPEED;
				//						  while(isCarMoving());
				flagDone=1;
				break;

			case 'B':
				moveBackward((uint16_t)magnitude);
				estimatedDelay = (int32_t) (magnitude * 1000) / AVERAGE_SPEED;
				//						  while(isCarMoving());
				flagDone=1;
				break;

			case 'R':
//				moveRightForward((uint16_t) magnitude);
//				estimatedDelay = (int32_t) (magnitude/90) * 5000/1.4;
//				while(isCarMoving());
				// 1st obstacle
				ringBuzzer(30);
				magnitude = 90;

				moveRightForward((uint16_t) magnitude);
				estimatedDelay = (int32_t) (magnitude/90) * 5000/1.4; // Turn right to align back on the path
				osDelay(estimatedDelay);

				moveForward(50); // Move past the obstacle
				osDelay(2000);

				moveLeftForward((uint16_t) magnitude); // Turn left 90 degrees
				estimatedDelay = (int32_t) (magnitude/90) * 5000; // Allow turning time
				osDelay(estimatedDelay);

				while (1) // Infinite loop to keep moving forward
				{
					distance_return = ultrasonic(); // Get current distance from ultrasonic sensor

					if (distance_return <= 15) // If obstacle detected within 15cm, stop
					{
						leftTargetVal = 0;
						rightTargetVal = 0;
						pwmVal_Left = 0;
						pwmVal_Right = 0;
						ringBuzzer(50); // Indicate obstacle detected
						break; // Exit loop when distance is close enough
					}

					moveForward(150); // Keep moving forward (distance is arbitrarily large)
					osDelay(100); // Small delay to allow sensor readings to update
				}

				flagDone=1;
				break;

			case 'L':
//				moveLeftForward((uint16_t) magnitude);
//				estimatedDelay = (int32_t) (magnitude/90) * 5000;
//				while(isCarMoving());
				// 1st obstacle
				ringBuzzer(30);
				magnitude = 90;
				moveLeftForward((uint16_t) magnitude); // Turn left 90 degrees
				estimatedDelay = (int32_t) (magnitude/90) * 5000; // Allow turning time
				osDelay(estimatedDelay);

				moveForward(50); // Move past the obstacle
				osDelay(2000);

				moveRightForward((uint16_t) magnitude);
				estimatedDelay = (int32_t) (magnitude/90) * 5000/1.4; // Turn right to align back on the path
				osDelay(estimatedDelay);

				while (1) // Infinite loop to keep moving forward
				{
					distance_return = ultrasonic(); // Get current distance from ultrasonic sensor

					if (distance_return <= 15) // If obstacle detected within 15cm, stop
					{
						leftTargetVal = 0;
						rightTargetVal = 0;
						pwmVal_Left = 0;
						pwmVal_Right = 0;
						ringBuzzer(50); // Indicate obstacle detected
						break; // Exit loop when distance is close enough
					}

					moveForward(150); // Keep moving forward (distance is arbitrarily large)
					osDelay(100); // Small delay to allow sensor readings to update
				}

				flagDone=1;
				break;

			case 'W':
				moveRightBackward((uint16_t) magnitude);
				estimatedDelay = (int32_t) (magnitude/90) * 5000/1.4;
				//						  while(isCarMoving());
				flagDone=1;
				break;

			case 'V':
				moveLeftBackward((uint16_t) magnitude);
				estimatedDelay = (int32_t) (magnitude/90) * 5000;
				//						  while(isCarMoving());
				flagDone=1;
				break;
			default:
				aRxBuffer[0] = 'S';
				aRxBuffer[1] = '0';
				aRxBuffer[2] = '0';
				aRxBuffer[3] = '0';
				aRxBuffer[4] = '0';
				break;
			}
		}

		if(flagDone==1){
			osDelay(estimatedDelay); //og 500
			acknowledgeCompletion();
			ringBuzzer(30);
			ringBuzzer(30);
			flagDone = 0;
			leftTargetVal = 0;
			leftEncoderVal = 0;
			rightEncoderVal = 0;
			rightTargetVal  = 0;
		}
		//flagRead = 0;
		osDelay(1);
	}

	/* USER CODE END 5 */
}

void encoderLeftTask(void *argument)
{
	/* USER CODE BEGIN encoderLeftTask */
	// using motor B
	TIM_HandleTypeDef *htim = &htim3;
	HAL_TIM_Encoder_Start(htim,TIM_CHANNEL_ALL);
	int16_t cnt_B;
	int8_t dirL = 1;
	uint32_t tick = HAL_GetTick();
	uint8_t buf[20]; // for debug
	/* Infinite loop */
	for(;;)
	{
		if (HAL_GetTick() - tick > 10L){ // 10ms delay, adjust accordingly or 100Hz atm
			dTLeft =  (HAL_GetTick() - tick) / 1000;
			cnt_B = __HAL_TIM_GET_COUNTER(htim);
			if (!__HAL_TIM_IS_TIM_COUNTING_DOWN(htim)){ // moving forward
				dirL = 1;
				leftDiff = 65536 - cnt_B;
			}
			else{
				dirL = -1;
				leftDiff = cnt_B;
			}

			if(dirL == 1){
				leftEncoderVal += (int16_t)leftDiff;
			}

			else{
				leftEncoderVal -= (int16_t)leftDiff;
			}
			__HAL_TIM_SET_COUNTER(htim, 0);

			// for debug

			tick = HAL_GetTick();
		}
		osDelay(1);
	}
	/* USER CODE END encoderLeftTask */
}

void encoderRightTask(void *argument)
{
	/* USER CODE BEGIN encoderRightTask */
	// using motor D
	TIM_HandleTypeDef *htim = &htim2;
	HAL_TIM_Encoder_Start(htim,TIM_CHANNEL_ALL);
	int16_t cnt_A;
	int8_t dirR = 1;
	uint32_t tick = HAL_GetTick();
	uint8_t buf[20]; // for debug
	/* Infinite loop */
	for(;;)
	{

		if (HAL_GetTick() - tick > 10L){ // 10ms delay, adjust accordingly or 100Hz atm
			dTRight = (HAL_GetTick() - tick) / 1000;
			cnt_A = __HAL_TIM_GET_COUNTER(htim);
			if (!__HAL_TIM_IS_TIM_COUNTING_DOWN(htim)){ // moving forward
				dirR = -1;
				rightDiff = 65536 - cnt_A;
			}
			else{
				dirR =  1; // motor D is wired differently idk why;
				rightDiff = cnt_A;
			}

			if(dirR == 1){
				rightEncoderVal += (int16_t)rightDiff;
			}

			else{
				rightEncoderVal -= (int16_t)rightDiff;
			}
			__HAL_TIM_SET_COUNTER(htim, 0);

			tick = HAL_GetTick();

			// for debug

		}
		osDelay(1);
	}
	/* USER CODE END encoderRightTask */
}

void dcMotorTask(void *argument)
{
	/* USER CODE BEGIN dcMotorTask */

	/*
	  Initialise Timer and Channels
	  Timer 1 Channel 4 for Servo Motor FRONT Steer
	  Timer 8 Channel 1 for Motor A -- configured for RIGHT DC Wheel
	  Timer 8 Channel 2 for Motor B -- configured for LEFT DC Wheel
	 */
	HAL_TIM_PWM_Start(&htim1, TIM_CHANNEL_4);
	HAL_TIM_PWM_Start(&htim8, TIM_CHANNEL_2);
	HAL_TIM_PWM_Start(&htim8, TIM_CHANNEL_4);

	/* Configure RIGHT wheel to cause forward motion of car */
	HAL_GPIO_WritePin(DIN2_GPIO_Port, DIN2_Pin, GPIO_PIN_SET);
	HAL_GPIO_WritePin(DIN1_GPIO_Port, DIN1_Pin, GPIO_PIN_RESET);
	/* Configure LEFT wheel to cause forward motion of car */
	HAL_GPIO_WritePin(BIN1_GPIO_Port, BIN2_Pin, GPIO_PIN_SET);
	HAL_GPIO_WritePin(BIN2_GPIO_Port, BIN1_Pin, GPIO_PIN_RESET);

	pwmVal_servo = SERVO_STRAIGHT;
	oldPwmVal_Servo = pwmVal_servo;
	htim1.Instance->CCR4 = pwmVal_servo;
	/* Infinite loop */
	for(;;)
	{
		// add the pwm IF statement

		if (pwmVal_servo != oldPwmVal_Servo){
			oldPwmVal_Servo = pwmVal_servo;
			htim1.Instance->CCR4 = pwmVal_servo;
			ringBuzzer(10);
			ringBuzzer(10);
			ringBuzzer(10);
			osDelay(500);
		}

		htim1.Instance->CCR4 = pwmVal_servo;

		pwmVal_Left = PID_Control_left();
		pwmVal_Right = PID_Control_right();

		__HAL_TIM_SetCompare(&htim8, TIM_CHANNEL_2, pwmVal_Left);
		__HAL_TIM_SetCompare(&htim8, TIM_CHANNEL_4, pwmVal_Right);

		osDelay(25);
	}
	/* USER CODE END dcMotorTask */
}

void oledTask1(void *argument)
{
	/* USER CODE BEGIN oledTask1 */
	uint8_t buf [20];
	/* Infinite loop */
	for(;;)
	{
		sprintf(buf, "lC = %5d", leftEncoderVal);
		OLED_ShowString(10, 10, buf);

		sprintf(buf, "rC = %5d", rightEncoderVal);
		OLED_ShowString(10, 20, buf);

		sprintf(buf, "cmd= %s", aRxBuffer);
		OLED_ShowString(10, 30, buf);

		sprintf(buf, "lT= %5d", leftTargetVal);
		OLED_ShowString(10, 40, buf);

		sprintf(buf, "rT= %5d", rightTargetVal);
		OLED_ShowString(10, 50, buf);
		OLED_Refresh_Gram();

		// Display timer counter value - check if its an issue
//		sprintf(buf, "TIM4 Count: %5d", __HAL_TIM_GET_COUNTER(&htim4));
//		OLED_ShowString(10, 70, buf);

		// checking if readings are accurate
//		readLeftIR();
//		readRightIR();
//		ultrasonic();
//		ringBuzzer(50);
//		OLED_Refresh_Gram();
		osDelay(100);
	}
	/* USER CODE END oledTask1 */
}

void Error_Handler(void)
{
	__disable_irq();
	while (1)
	{
	}
}
